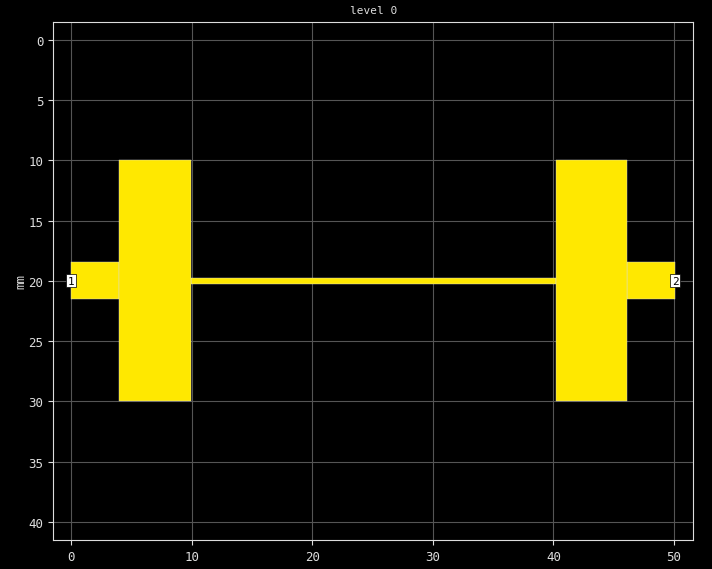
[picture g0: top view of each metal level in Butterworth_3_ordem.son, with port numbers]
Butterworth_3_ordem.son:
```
FTYP SONPROJ 13 ! Sonnet Project File
VER 15.53.lite
HEADER
LIC SL290709.106431 847bebfebdba DESKTOP-1CMJ3DP Arihe
DAT 05/13/2019 03:14:16
BUILT_BY_CREATED xgeom 15.53-Lite 04/13/2019 20:59:13
BUILT_BY_SAVED xgeom 15.53-Lite
MDATE 05/13/2019 03:14:16
HDATE 05/13/2019 03:14:16
END HEADER
DIM
FREQ GHZ
RSVY OHMM
IND NH
LNG MM
ANG DEG
CON /OH
CAP PF
RES OH
END DIM
FREQ
ABS 1.0e-9 3.0 
END FREQ
CONTROL
ABS
OPTIONS  -dj 
SPEED 0
CACHE_ABS 1
TARG_ABS 300
Q_ACC N
END CONTROL
GEO
DRP1 LEFT LINK
POLY 12 1
1
DRP1 RIGHT LINK
POLY 14 1
0
TMET "Lossless" 0 SUP 0 0 0 0
BMET "Lossless" 0 SUP 0 0 0 0
MET "Copper" 1 NOR 58000000 0 0.0347 
BOX 1 50.1 40 1002 800 20 0
      20 1 1 0 0 0 0 "Air"
      1.5306 4.1 1 0.02 0 0 0 "FR-4"
LORGN 0 40 U 
POR1 STD
POLY 12 1
3
1 50 0 0 0 -1.484743677e-006 20 
POR1 STD
POLY 14 1
1
2 50 0 0 0 50.09999852 20 
NUM 5
0 5 0 N 12 1 1 100 100 0 0 0 Y
-1.484743677e-006 18.45
3.999998515 18.45
3.999998515 21.55
-1.484743677e-006 21.55
-1.484743677e-006 18.45
END
0 5 0 N 14 1 1 100 100 0 0 0 Y
46.09999852 18.45
50.09999852 18.45
50.09999852 21.55
46.09999852 21.55
46.09999852 18.45
END
0 5 0 N 16 1 1 100 100 0 0 0 Y
9.899999897 19.75
40.1999999 19.75
40.1999999 20.25
9.899999897 20.25
9.899999897 19.75
END
0 5 0 N 17 1 1 100 100 0 0 0 Y
3.999999897 10
9.899999897 10
9.899999897 30
3.999999897 30
3.999999897 10
END
0 5 0 N 18 1 1 100 100 0 0 0 Y
40.1999999 10
46.0999999 10
46.0999999 30
40.1999999 30
40.1999999 10
END
END GEO
OPT
MAX 100
VARS
END
END OPT
VARSWP
END VARSWP
QSG
IMPORT NO
EXTRA_METAL NO
UNITS YES
ALIGN NO
REF NO
VIEW_RES NO
METALS YES
USED YES
END QSG
```
